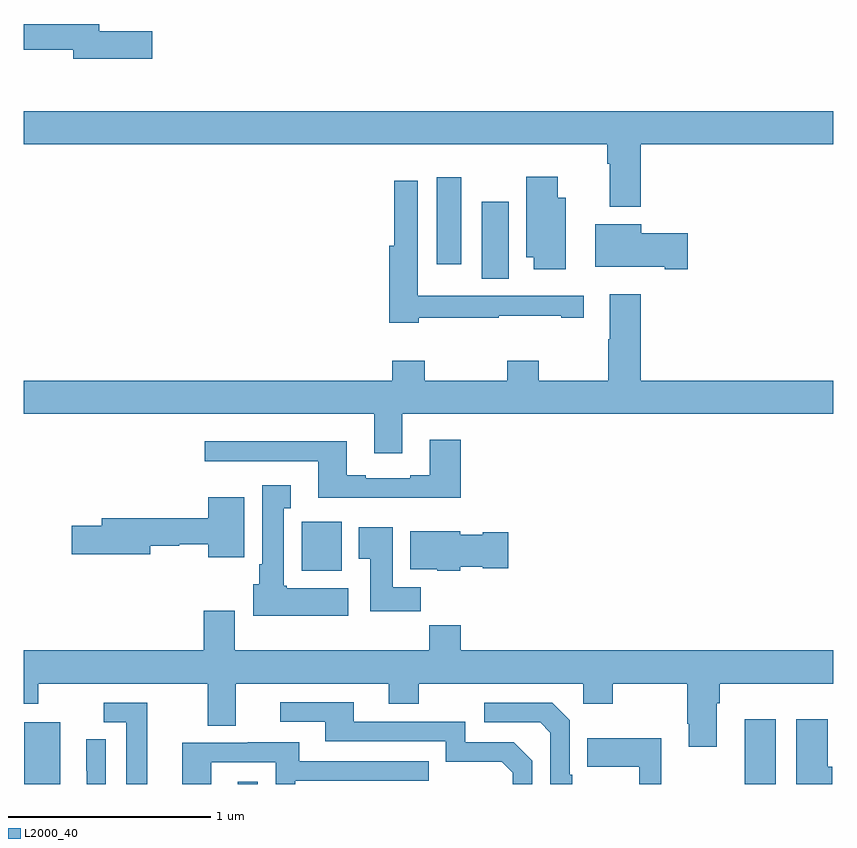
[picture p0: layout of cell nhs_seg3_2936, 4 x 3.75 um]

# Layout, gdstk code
import gdstk
lib = gdstk.Library(unit=1e-6, precision=1e-09)
def R(c, l, rs):  # rectangles x0, y0, x1, y1
    for r in rs: c.add(gdstk.rectangle(r[:2], r[2:], *l))
def P(c, l, *ps):  # polygons
    for p in ps: c.add(gdstk.Polygon(p, *l))
L2000_40 = (2000, 40)

nhs_seg3_2936 = lib.new_cell('nhs_seg3_2936')
R(nhs_seg3_2936, L2000_40, [(263.003,720.4,263.182,720.706), (264.059,720.4,264.156,720.412), (266.561,720.4,266.716,720.721), (264.374,721.454,264.571,721.696), (265.262,722.896,265.396,723.277), (265.04,722.967,265.162,723.397)])
P(nhs_seg3_2936, L2000_40, [(263.635,724.118),(263.374,724.118),(263.374,724.154),(263,724.154),(263,724.026),(263.246,724.026),(263.246,723.983),(263.635,723.983)],
  [(266.048,723.56),(267,723.56),(267,723.724),(263,723.724),(263,723.56),(265.883,723.56),(265.883,723.464),(265.895,723.464),(265.895,723.251),(266.048,723.251)],
  [(265.678,723.295),(265.639,723.295),(265.639,723.4),(265.484,723.4),(265.484,723.002),(265.52,723.002),(265.52,722.943),(265.678,722.943)],
  [(264.953,722.703),(265.346,722.703),(265.346,722.713),(265.655,722.713),(265.655,722.703),(265.768,722.703),(265.768,722.812),(265.524,722.812),(265.524,722.811),(265.158,722.811),(265.158,722.812),(264.948,722.812),(264.948,723.379),(264.832,723.379),(264.832,723.058),(264.806,723.058),(264.806,722.678),(264.953,722.678)],
  [(266.281,723.12),(266.05,723.12),(266.05,723.166),(265.823,723.166),(265.823,722.954),(266.168,722.954),(266.168,722.942),(266.281,722.942)],
  [(264.871,722.228),(267,722.228),(267,722.392),(266.048,722.392),(266.048,722.818),(265.895,722.818),(265.895,722.597),(265.888,722.597),(265.888,722.392),(265.545,722.392),(265.545,722.491),(265.39,722.491),(265.39,722.392),(264.981,722.392),(264.981,722.491),(264.821,722.491),(264.821,722.392),(263,722.392),(263,722.228),(264.731,722.228),(264.731,722.034),(264.871,722.034)],
  [(265.16,722.101),(265.007,722.101),(265.007,721.924),(264.911,721.924),(264.911,721.911),(264.691,721.911),(264.691,721.924),(264.595,721.924),(264.595,722.092),(263.895,722.092),(263.895,721.995),(264.455,721.995),(264.455,721.814),(265.16,721.814)],
  [(264.604,721.366),(264.3,721.366),(264.3,721.38),(264.286,721.38),(264.286,721.763),(264.319,721.763),(264.319,721.876),(264.179,721.876),(264.179,721.486),(264.164,721.486),(264.164,721.386),(264.134,721.386),(264.134,721.232),(264.604,721.232)],
  [(264.091,721.816),(263.912,721.816),(263.912,721.712),(263.387,721.712),(263.387,721.676),(263.238,721.676),(263.238,721.534),(263.626,721.534),(263.626,721.576),(263.769,721.576),(263.769,721.584),(263.912,721.584),(263.912,721.52),(264.091,721.52)],
  [(264.962,721.372),(264.823,721.372),(264.823,721.669),(264.656,721.669),(264.656,721.513),(264.713,721.513),(264.713,721.254),(264.962,721.254)],
  [(265.158,721.472),(265.269,721.472),(265.269,721.465),(265.393,721.465),(265.393,721.643),(265.269,721.643),(265.269,721.63),(265.158,721.63),(265.158,721.648),(264.911,721.648),(264.911,721.46),(265.044,721.46),(265.044,721.454),(265.158,721.454)],
  [(266.425,720.8),(266.438,720.8),(266.438,720.896),(267,720.896),(267,721.06),(265.16,721.06),(265.16,721.184),(265.003,721.184),(265.003,721.06),(264.043,721.06),(264.043,721.255),(263.891,721.255),(263.891,721.06),(263,721.06),(263,720.797),(263.073,720.797),(263.073,720.896),(263.909,720.896),(263.909,720.688),(264.049,720.688),(264.049,720.896),(264.803,720.896),(264.803,720.797),(264.951,720.797),(264.951,720.896),(265.764,720.896),(265.764,720.797),(265.911,720.797),(265.911,720.896),(266.278,720.896),(266.278,720.697),(266.285,720.697),(266.285,720.585),(266.425,720.585)],
  [(265.512,720.516),(265.422,720.606),(265.182,720.606),(265.182,720.708),(264.631,720.708),(264.631,720.804),(264.267,720.804),(264.267,720.708),(264.491,720.708),(264.491,720.612),(265.086,720.612),(265.086,720.509),(265.363,720.509),(265.416,720.456),(265.416,720.4),(265.512,720.4)],
  [(263.611,720.801),(263.397,720.801),(263.397,720.705),(263.507,720.705),(263.507,720.4),(263.611,720.4)],
  [(265.711,720.445),(265.698,720.445),(265.698,720.714),(265.611,720.801),(265.275,720.801),(265.275,720.705),(265.551,720.705),(265.602,720.654),(265.602,720.4),(265.711,720.4)],
  [(266.995,720.486),(266.971,720.486),(266.971,720.721),(266.816,720.721),(266.816,720.4),(266.995,720.4)],
  [(266.15,720.625),(265.783,720.625),(265.783,720.485),(266.04,720.485),(266.04,720.4),(266.15,720.4)],
  [(263.406,720.62),(263.31,720.62),(263.31,720.466),(263.312,720.466),(263.312,720.4),(263.406,720.4)],
  [(263.928,720.507),(264.246,720.507),(264.246,720.4),(264.342,720.4),(264.342,720.417),(265.001,720.417),(265.001,720.513),(264.361,720.513),(264.361,720.607),(264.107,720.607),(264.107,720.603),(263.783,720.603),(263.783,720.4),(263.928,720.4)])

lib.write_gds('nhs_seg3_2936.gds')
